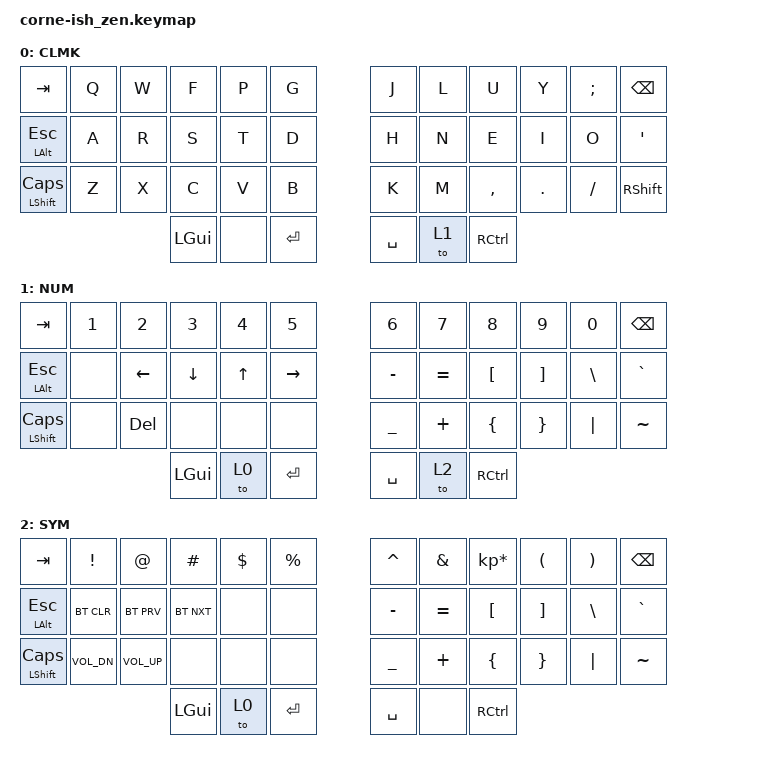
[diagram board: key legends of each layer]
/*
*
* Copyright (c) 2021 Darryl deHaan
* SPDX-License-Identifier: MIT
*
*/

#include <behaviors.dtsi>
#include <dt-bindings/zmk/keys.h>
#include <dt-bindings/zmk/bt.h>

/ {
    behaviors {
        td: tapdance {
            compatible = "zmk,behavior-hold-tap";
            label = "TAPDANCE";
            #binding-cells = <2>;
            tapping-term-ms = <150>;
            quick_tap_ms = <0>;
            flavor = "tap-preferred";
            bindings = <&kp>, <&kp>;
        };
    };

        keymap {
                compatible = "zmk,keymap";

                default_layer {
                        label = "CLMK";
// -----------------------------------------------------------------------------------------
// |       TAB |  Q  |  W  |  F  |  P  |  G  |   |  J  |  L  |   U  |  Y  |  ;  | BKSP |
// |   ALT/ESC |  A  |  R  |  S  |  T  |  D  |   |  H  |  N  |   E  |  I  |  O  |  '   |
// | SHFT/CAPS |  Z  |  X  |  C  |  V  |  B  |   |  K  |  M  |   ,  |  .  |  /  | SHFT |
//                         | GUI |     | ENT |   | SPC | NUM | CTRL |
                        bindings = <
   &kp TAB        &kp Q &kp W &kp F    &kp P  &kp G     &kp J     &kp L  &kp U     &kp Y   &kp SEMI &kp BSPC
   &td LALT ESC   &kp A &kp R &kp S    &kp T  &kp D     &kp H     &kp N  &kp E     &kp I   &kp O    &kp SQT
   &td LSHFT CAPS &kp Z &kp X &kp C    &kp V  &kp B     &kp K     &kp M  &kp COMMA &kp DOT &kp FSLH &kp RSHFT
                              &kp LGUI &none  &kp RET   &kp SPACE &to 1 &kp RCTRL
                        >;
                };
                lower_layer {
                        label = "NUM";
// -----------------------------------------------------------------------------------------
// |       TAB |  1  |  2  |  3  |  4   |  5  |   |  6  |  7  |   8  |  9  |  0  | BKSP |
// |   ALT/ESC |     | LFT | DWN |  UP  | RGT |   |  -  |  =  |   [  |  ]  |  \  |  `   |
// | SHFT/CAPS |     | DEL |     |      |     |   |  _  |  +  |   {  |  }  | "|" |  ~   |
//                         | GUI | CLMK | ENT |   | SPC | SYM | CTRL |

                        bindings = <
   &kp TAB        &kp N1  &kp N2   &kp N3   &kp N4 &kp N5      &kp N6    &kp N7    &kp N8    &kp N9   &kp N0   &kp BSPC
   &td LALT ESC   &none   &kp LEFT &kp DOWN &kp UP &kp RIGHT   &kp MINUS &kp EQUAL &kp LBKT  &kp RBKT &kp BSLH &kp GRAVE
   &td LSHFT CAPS &none   &kp DEL  &none    &none  &none       &kp UNDER &kp PLUS  &kp LBRC  &kp RBRC &kp PIPE &kp TILDE
                                   &kp LGUI &to 0  &kp RET     &kp SPACE &to 2     &kp RCTRL
                        >;
                };

                raise_layer {
                        label = "SYM";
// -----------------------------------------------------------------------------------------
// |       TAB |  !   |   @  |  #  |  $   |  %  |   |  ^  |  &  |   *  |  (  |  )  | BKSP |
// |   ALT/ESC | BTCLR|  BTP | BTN |      |     |   |  -  |  =  |   [  |  ]  |  \  |  `   |
// | SHFT/CAPS | VOL- | VOL+ |     |      |     |   |  _  |  +  |   {  |  }  | "|" |  ~   |
//                           | GUI | CLMK | ENT |   | SPC |     | CTRL |
                        bindings = <
   &kp TAB        &kp EXCL     &kp AT       &kp HASH   &kp DLLR     &kp PRCNT      &kp CARET  &kp AMPS  &kp KP_MULTIPLY &kp LPAR &kp RPAR &kp BSPC
   &td LALT ESC   &bt BT_CLR   &bt BT_PRV   &bt BT_NXT &none        &none          &kp MINUS  &kp EQUAL &kp LBKT        &kp RBKT &kp BSLH &kp GRAVE
   &td LSHFT CAPS &kp C_VOL_DN &kp C_VOL_UP &none      &none        &none          &kp UNDER  &kp PLUS  &kp LBRC        &kp RBRC &kp PIPE &kp TILDE
                    	                    &kp LGUI   &to 0        &kp RET        &kp SPACE  &none     &kp RCTRL
                        >;
                };
        };
};
